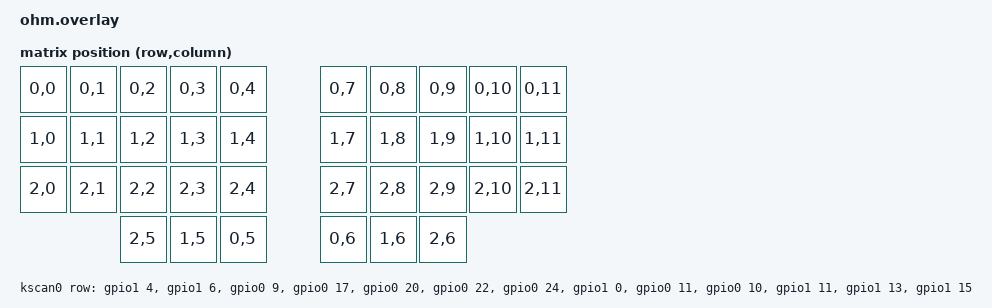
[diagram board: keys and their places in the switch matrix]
#include "ohm-layouts.dtsi"
#include <dt-bindings/zmk/matrix_transform.h> // Put this with the other includes at the top of your overlay

/ {
    kscan0: kscan0 {
        compatible = "zmk,kscan-gpio-matrix";
        diode-direction = "col2row";
        wakeup-source;

        row-gpios = <&gpio1 4  (GPIO_ACTIVE_HIGH | GPIO_PULL_DOWN)>, //ROW0
                    <&gpio1 6  (GPIO_ACTIVE_HIGH | GPIO_PULL_DOWN)>, //ROW1
                    <&gpio0 9  (GPIO_ACTIVE_HIGH | GPIO_PULL_DOWN)>, //ROW2

        col-gpios = <&gpio0 17 GPIO_ACTIVE_HIGH>, //COL0
                    <&gpio0 20 GPIO_ACTIVE_HIGH>, //COL1
                    <&gpio0 22 GPIO_ACTIVE_HIGH>, //COL2
                    <&gpio0 24 GPIO_ACTIVE_HIGH>, //COL3
                    <&gpio1 0  GPIO_ACTIVE_HIGH>, //COL4
                    <&gpio0 11 GPIO_ACTIVE_HIGH>, //COL5
                    <&gpio0 10 GPIO_ACTIVE_HIGH>, //COL6
                    <&gpio1 11 GPIO_ACTIVE_HIGH>, //COL7
                    <&gpio1 13 GPIO_ACTIVE_HIGH>, //COL8
                    <&gpio1 15 GPIO_ACTIVE_HIGH>; //COL9
                    <&gpio0 2  GPIO_ACTIVE_HIGH>; //COL10
                    <&gpio0 29 GPIO_ACTIVE_HIGH>; //COL11

    };
};

/ {
    default_transform: keymap_transform0 {

        compatible = "zmk,matrix-transform";
        columns = <12>;
        rows = <3>;

    // | SW1  | SW4  | SW7  | SW11 | SW15 |   | SW19 | SW23 | SW27 | SW31 | SW34 |
    // | SW2  | SW5  | SW8  | SW12 | SW16 |   | SW20 | SW24 | SW28 | SW32 | SW35 |
    // | SW3  | SW6  | SW9  | SW13 | SW17 |   | SW21 | SW25 | SW29 | SW33 | SW36 |
    //               | SW10 | SW14 | SW18 |   | SW22 | SW26 | SW30 |
        map = <
    RC(0,0) RC(0,1) RC(0,2) RC(0,3) RC(0,4)   RC(0,7) RC(0,8) RC(0,9) RC(0,10) RC(0,11)
    RC(1,0) RC(1,1) RC(1,2) RC(1,3) RC(1,4)   RC(1,7) RC(1,8) RC(1,9) RC(1,10) RC(1,11)
    RC(2,0) RC(2,1) RC(2,2) RC(2,3) RC(2,4)   RC(2,7) RC(2,8) RC(2,9) RC(2,10) RC(2,11)
                    RC(2,5) RC(1,5) RC(0,5)   RC(0,6) RC(1,6) RC(2,6)
        >;
    };
};

/ {
    chosen {
        zmk,physical-layout = &physical_layout0;
        // Other chosen items
    };
};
